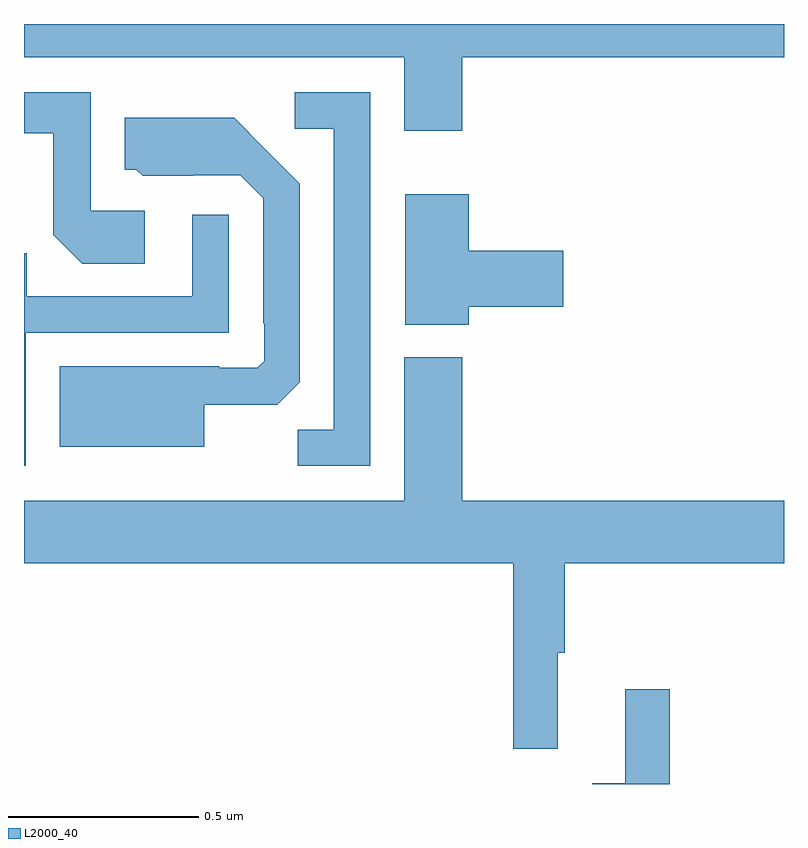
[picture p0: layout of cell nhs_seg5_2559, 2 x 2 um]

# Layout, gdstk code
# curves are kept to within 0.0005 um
import gdstk
lib = gdstk.Library(unit=1e-6, precision=1e-09)
def P(c, l, *ps):  # polygons
    for p in ps: c.add(gdstk.Polygon(p, *l))
L2000_40 = (2000, 40)

nhs_seg5_2559 = lib.new_cell('nhs_seg5_2559')
P(nhs_seg5_2559, L2000_40, [(146.153,904.712),(147,904.712),(147,904.799),(145,904.799),(145,904.712),(146,904.712),(146,904.518),(146.153,904.518)],
  [(145.318,904.308),(145.176,904.308),(145.176,904.62),(145,904.62),(145,904.512),(145.077,904.512),(145.077,904.244),(145.153,904.168),(145.318,904.168)],
  [(145.911,904.62),(145.713,904.62),(145.713,904.524),(145.815,904.524),(145.815,903.731),(145.72,903.731),(145.72,903.636),(145.911,903.636)],
  [(145.474,903.797),(145.666,903.797),(145.725,903.856),(145.725,904.378),(145.553,904.552),(145.265,904.552),(145.265,904.416),(145.296,904.416),(145.312,904.4),(145.446,904.4),(145.446,904.401),(145.569,904.401),(145.629,904.341),(145.629,904.012),(145.632,904.012),(145.632,903.912),(145.614,903.894),(145.514,903.894),(145.514,903.898),(145.094,903.898),(145.094,903.686),(145.474,903.686)],
  [(146.17,904.055),(146.419,904.055),(146.419,904.202),(146.17,904.202),(146.17,904.351),(146.003,904.351),(146.003,904.007),(146.17,904.007)],
  [(145.005,903.987),(145.539,903.987),(145.539,904.297),(145.443,904.297),(145.443,904.083),(145.007,904.083),(145.007,904.196),(145,904.196),(145,903.636),(145.005,903.636)],
  [(146.405,903.144),(146.423,903.144),(146.423,903.38),(147,903.38),(147,903.544),(146.153,903.544),(146.153,903.922),(146,903.922),(146,903.544),(145,903.544),(145,903.38),(146.287,903.38),(146.287,902.892),(146.405,902.892)],
  [(146.699,903.049),(146.582,903.049),(146.582,902.801),(146.496,902.801),(146.496,902.799),(146.699,902.799)])

lib.write_gds('nhs_seg5_2559.gds')
